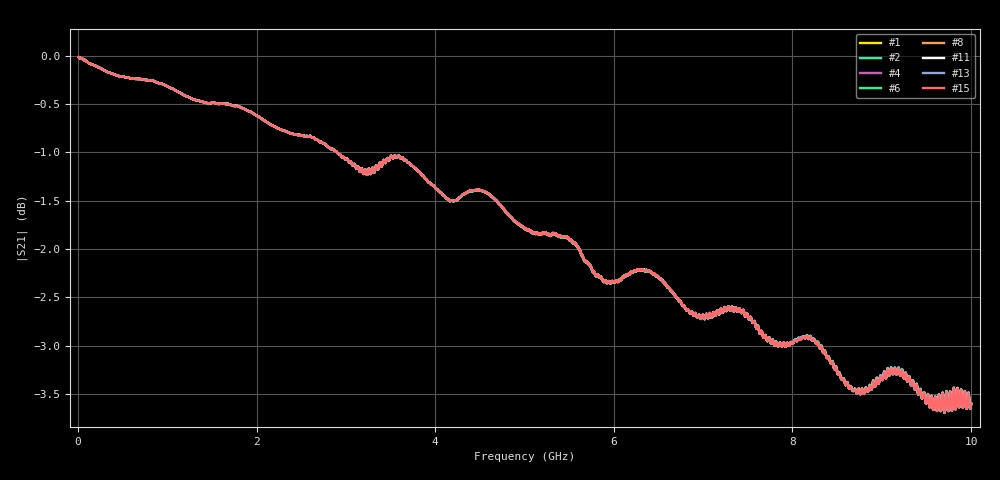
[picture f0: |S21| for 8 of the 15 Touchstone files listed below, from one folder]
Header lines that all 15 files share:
!Keysight Technologies,E5080B,MY59205177,A.15.75.32
!Correction: S11(Cdelta 2-Port  )
!S21(Cdelta 2-Port  )
!S12(Cdelta 2-Port  )
!S22(Cdelta 2-Port  )
!S2P File: Measurements: S11, S21, S12, S22:
# Hz S  dB  R 50
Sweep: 10 MHz to 10 GHz
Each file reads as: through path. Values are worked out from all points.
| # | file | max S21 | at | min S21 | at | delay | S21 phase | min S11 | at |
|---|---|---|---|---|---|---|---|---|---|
| 1 | 161.s2p | -0.01 dB | 14 MHz | -3.7 dB | 9.701 GHz | 566 ps | 80 deg at 5.005 GHz | -66.9 dB | 1.797 GHz |
| 2 | 162.s2p | -0.01 dB | 10 MHz | -3.7 dB | 9.701 GHz | 566 ps | 80 deg at 5.005 GHz | -66.6 dB | 1.797 GHz |
| 3 | 163.s2p | -0.02 dB | 10 MHz | -3.7 dB | 9.701 GHz | 566 ps | 80 deg at 5.005 GHz | -66.7 dB | 1.797 GHz |
| 4 | 164.s2p | -0.01 dB | 14 MHz | -3.7 dB | 9.701 GHz | 566 ps | 80 deg at 5.005 GHz | -67.1 dB | 1.797 GHz |
| 5 | 165.s2p | -0.01 dB | 10 MHz | -3.7 dB | 9.701 GHz | 566 ps | 80 deg at 5.005 GHz | -66.2 dB | 1.797 GHz |
| 6 | 166.s2p | -0.01 dB | 10 MHz | -3.7 dB | 9.701 GHz | 566 ps | 80 deg at 5.005 GHz | -67.0 dB | 1.797 GHz |
| 7 | 167.s2p | -0.01 dB | 10 MHz | -3.7 dB | 9.701 GHz | 566 ps | 80 deg at 5.005 GHz | -66.2 dB | 1.797 GHz |
| 8 | 168.s2p | -0.01 dB | 14 MHz | -3.7 dB | 9.701 GHz | 566 ps | 80 deg at 5.005 GHz | -66.3 dB | 1.797 GHz |
| 9 | 169.s2p | -0.01 dB | 10 MHz | -3.7 dB | 9.701 GHz | 566 ps | 80 deg at 5.005 GHz | -66.7 dB | 1.797 GHz |
| 10 | 170.s2p | -0.01 dB | 14 MHz | -3.7 dB | 9.701 GHz | 566 ps | 80 deg at 5.005 GHz | -66.3 dB | 1.797 GHz |
| 11 | 171.s2p | -0.01 dB | 14 MHz | -3.7 dB | 9.701 GHz | 566 ps | 80 deg at 5.005 GHz | -66.0 dB | 1.797 GHz |
| 12 | 172.s2p | -0.01 dB | 14 MHz | -3.7 dB | 9.701 GHz | 566 ps | 80 deg at 5.005 GHz | -65.9 dB | 1.797 GHz |
| 13 | 173.s2p | -0.01 dB | 10 MHz | -3.7 dB | 9.701 GHz | 566 ps | 80 deg at 5.005 GHz | -67.2 dB | 1.797 GHz |
| 14 | 174.s2p | -0.01 dB | 14 MHz | -3.7 dB | 9.701 GHz | 566 ps | 80 deg at 5.005 GHz | -65.5 dB | 1.797 GHz |
| 15 | 175.s2p | -0.01 dB | 14 MHz | -3.7 dB | 9.701 GHz | 566 ps | 80 deg at 5.005 GHz | -65.1 dB | 1.797 GHz |
